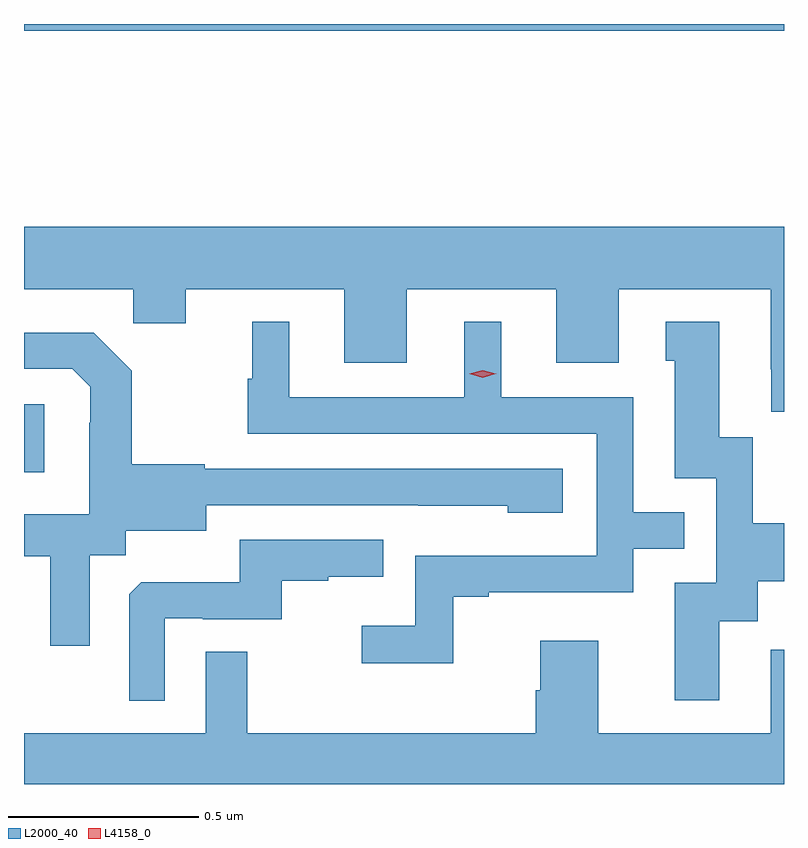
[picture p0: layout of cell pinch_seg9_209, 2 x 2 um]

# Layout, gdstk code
import gdstk
lib = gdstk.Library(unit=1e-6, precision=1e-09)
def R(c, l, rs):  # rectangles x0, y0, x1, y1
    for r in rs: c.add(gdstk.rectangle(r[:2], r[2:], *l))
def P(c, l, *ps):  # polygons
    for p in ps: c.add(gdstk.Polygon(p, *l))
L2000_40 = (2000, 40)
L4158_0 = (4158, 0)

pinch_seg9_209 = lib.new_cell('pinch_seg9_209')
R(pinch_seg9_209, L2000_40, [(546.206,1222.578,546.259,1222.758), (546.206,1223.74,548.206,1223.758)])
P(pinch_seg9_209, L2000_40, [(548.206,1223.224),(546.206,1223.224),(546.206,1223.06),(546.493,1223.06),(546.493,1222.97),(546.631,1222.97),(546.631,1223.06),(547.049,1223.06),(547.049,1222.866),(547.213,1222.866),(547.213,1223.06),(547.607,1223.06),(547.607,1222.866),(547.771,1222.866),(547.771,1223.06),(548.171,1223.06),(548.171,1222.849),(548.172,1222.849),(548.172,1222.737),(548.206,1222.737)],
  [(548.035,1222.186),(548.137,1222.186),(548.137,1222.292),(548.206,1222.292),(548.206,1222.444),(548.124,1222.444),(548.124,1222.671),(548.035,1222.671),(548.035,1222.975),(547.895,1222.975),(547.895,1222.872),(547.919,1222.872),(547.919,1222.563),(548.028,1222.563),(548.028,1222.287),(547.919,1222.287),(547.919,1221.978),(548.035,1221.978)],
  [(547.335,1222.251),(547.429,1222.251),(547.429,1222.263),(547.809,1222.263),(547.809,1222.377),(547.943,1222.377),(547.943,1222.473),(547.809,1222.473),(547.809,1222.776),(547.462,1222.776),(547.462,1222.975),(547.364,1222.975),(547.364,1222.776),(546.904,1222.776),(546.904,1222.975),(546.806,1222.975),(546.806,1222.824),(546.795,1222.824),(546.795,1222.68),(547.713,1222.68),(547.713,1222.359),(547.236,1222.359),(547.236,1222.174),(547.095,1222.174),(547.095,1222.076),(547.335,1222.076)],
  [(546.379,1222.36),(546.474,1222.36),(546.474,1222.424),(546.685,1222.424),(546.685,1222.491),(547.243,1222.491),(547.243,1222.49),(547.479,1222.49),(547.479,1222.472),(547.624,1222.472),(547.624,1222.587),(546.681,1222.587),(546.681,1222.6),(546.489,1222.6),(546.489,1222.845),(546.389,1222.945),(546.206,1222.945),(546.206,1222.851),(546.333,1222.851),(546.38,1222.804),(546.38,1222.709),(546.378,1222.709),(546.378,1222.468),(546.206,1222.468),(546.206,1222.358),(546.275,1222.358),(546.275,1222.122),(546.379,1222.122)],
  [(546.576,1222.194),(546.676,1222.194),(546.676,1222.191),(546.884,1222.191),(546.884,1222.293),(547.007,1222.293),(547.007,1222.304),(547.151,1222.304),(547.151,1222.401),(546.774,1222.401),(546.774,1222.289),(546.515,1222.289),(546.483,1222.257),(546.483,1221.977),(546.576,1221.977)],
  [(548.206,1222.111),(548.171,1222.111),(548.171,1221.892),(547.717,1221.892),(547.717,1222.135),(547.565,1222.135),(547.565,1222.005),(547.553,1222.005),(547.553,1221.892),(546.793,1221.892),(546.793,1222.106),(546.684,1222.106),(546.684,1221.892),(546.206,1221.892),(546.206,1221.758),(548.206,1221.758)])
P(pinch_seg9_209, L4158_0, [(547.413,1222.827),(547.378,1222.837),(547.377,1222.837),(547.378,1222.837),(547.413,1222.847),(547.448,1222.837),(547.449,1222.837),(547.448,1222.837)])

lib.write_gds('pinch_seg9_209.gds')
